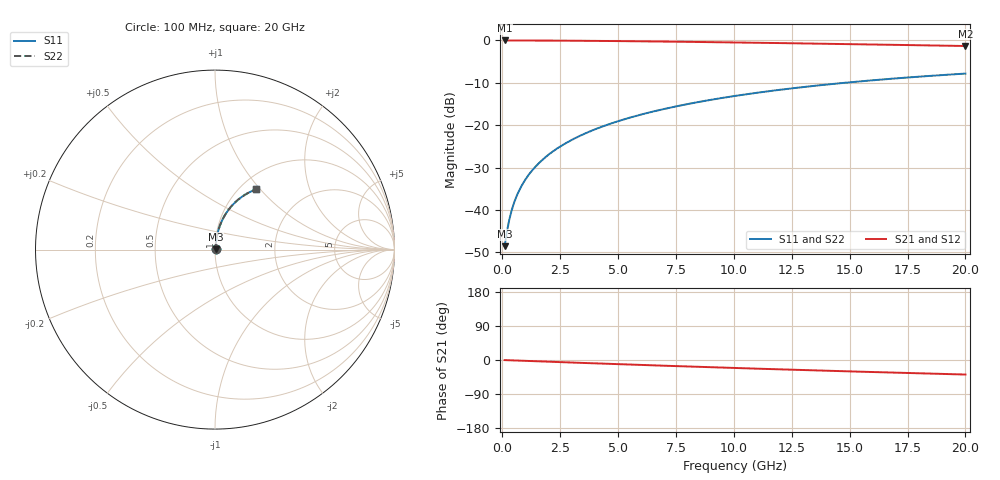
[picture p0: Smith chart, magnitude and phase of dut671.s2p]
! Touchstone file exported from HFSS 2024.1.0
!  File:  C:/UserFiles/LocalFiles/RDL_TSV_Batchsim/temp_RDL_top_671_1779782089.aedt
!  Generated:  03:57:10 PM May 26, 2026
!  Design:  RDL_top
!  Project:  temp_RDL_top_671_1779782089
!  Setup:  Setup1
!  Solution:  Sweep
! Variables:
!  dtsv = 10.80580581um
!  hbump = 3um
!  htsv = 88.84um
!  ldown = 100um
!  lrdl = 511.08um
!  p = 40
!  p1 = 48.21um
!  rhole = 1um
!  t = 450um
!  tdown = 3.915915916um
!  trdl = 4.3um
!  wdown = 15.38538539um
!  wrdl = 14.98um
# GHz S MA R 50.000000
! Terminal data exported
! Port[1] = Box2_T1
! Port[2] = Box2_T2
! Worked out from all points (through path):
!   200 points, 100 MHz to 20 GHz, reference 50 ohm
!   highest |S21| = -0.03 dB at 100 MHz (marker M1); lowest = -1.3 dB at 20 GHz (marker M2)
!   group delay of S21, straight-line fit = 5.31 ps
!   lowest |S11| = -48.5 dB at 100 MHz (marker M3), VSWR 1.01, Z = 50.3 + j0.236 ohm
!   |S11| at or under -10 dB: start of sweep to 14.8 GHz
!   |S22| runs from -48.5 to -7.8 dB; largest |S21 - S12| = 2.7e-15
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0.1  0.003742 38.9  0.9971 -0.2  0.9971 -0.2  0.003742 38.9
! Gamma 0 0 0 0
! Port Impedance 50 0 50 0
0.2  0.005552 57.4  0.997 -0.5  0.997 -0.5  0.005552 57.4
0.3  0.007636 66.0  0.9969 -0.7  0.9969 -0.7  0.007636 66.0
0.4  0.009796 70.7  0.9967 -0.9  0.9967 -0.9  0.009797 70.7
0.5  0.01198 73.7  0.9966 -1.1  0.9966 -1.1  0.01198 73.7
0.6  0.01416 75.6  0.9965 -1.4  0.9965 -1.4  0.01416 75.6
0.8  0.01853 78.2  0.9962 -1.8  0.9962 -1.8  0.01853 78.1
1.1  0.02509 80.2  0.9957 -2.5  0.9957 -2.5  0.02509 80.2
1.5  0.03388 81.5  0.995 -3.4  0.995 -3.4  0.03388 81.5
1.8  0.04049 82.0  0.9942 -4.0  0.9942 -4.0  0.04049 82.0
2.1  0.04711 82.2  0.9934 -4.7  0.9934 -4.7  0.04711 82.2
2.7  0.06039 82.2  0.9915 -6.0  0.9915 -6.0  0.06039 82.2
3.5  0.07812 81.7  0.9882 -7.8  0.9882 -7.8  0.07812 81.7
4.2  0.09363 81.0  0.9848 -9.3  0.9848 -9.3  0.09363 81.0
5  0.1114 80.1  0.9804 -11.0  0.9804 -11.0  0.1113 80.0
5.9  0.1312 78.8  0.975 -12.8  0.975 -12.8  0.1312 78.8
6.8  0.151 77.5  0.969 -14.7  0.969 -14.7  0.151 77.5
8.3  0.1837 75.2  0.9582 -17.7  0.9582 -17.7  0.1837 75.2
10.1  0.2222 72.2  0.9442 -21.2  0.9442 -21.2  0.2221 72.2
13.4  0.2893 66.6  0.9165 -27.2  0.9165 -27.2  0.2893 66.6
16.7  0.3508 61.1  0.8873 -33.0  0.8873 -33.0  0.3507 61.1
20  0.4056 55.8  0.8575 -38.3  0.8575 -38.3  0.4055 55.8
